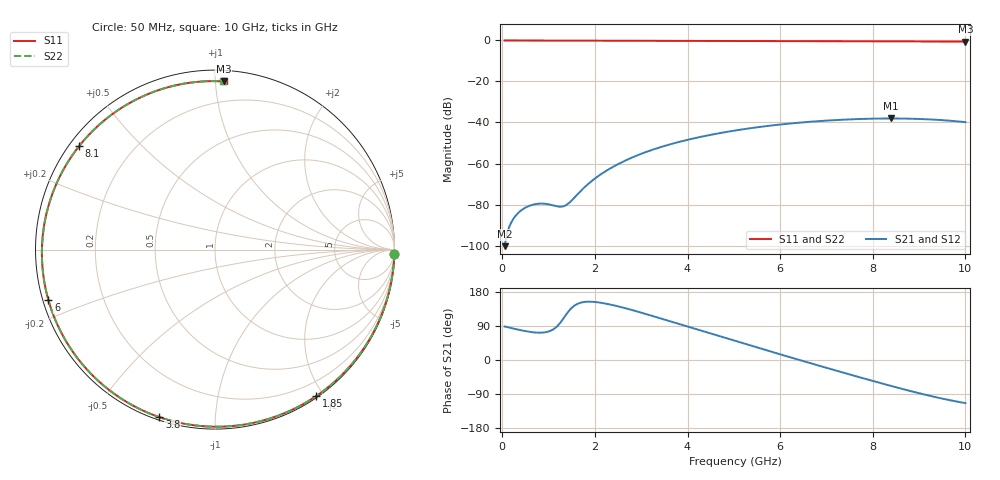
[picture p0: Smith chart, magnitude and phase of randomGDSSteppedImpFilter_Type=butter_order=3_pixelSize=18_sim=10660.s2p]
! freq	dB(S11)	phase(S11)	dB(S12)	phase(S12)
!  dB(S21)	phase(S21)	dB(S22)	phase(S22)
!S-par simulation data
#  GHz  S  DB  R 50
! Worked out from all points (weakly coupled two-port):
!   200 points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, 50 MHz to 10 GHz, reference 50 ohm
!   highest |S21| = -38.05 dB at 8.4 GHz (marker M1); lowest = -100.3 dB at 50 MHz (marker M2)
!   lowest |S11| = -0.6 dB at 10 GHz (marker M3), VSWR 31.29, Z = 3.37 + j52.6 ohm
!   |S11| at or under -10 dB: nowhere
!   |S22| runs from -0.6 to 0.0 dB; largest |S21 - S12| = 0
!   S11 on the Smith chart (normalised r, x): 50 MHz: 0, -74; 1.85 GHz: 0.02, -1.90; 3.8 GHz: 0.01, -0.72; 6 GHz: 0.02, -0.15; 8.1 GHz: 0.03, +0.34; 10 GHz: 0.07, +1.05
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0.05  -0.00 -1.6  -100.31 88.5  -100.31 88.5  -0.00 -1.6
0.7  -0.03 -21.4  -79.87 72.7  -79.87 72.7  -0.03 -21.4
1.4  -0.05 -42.4  -79.97 123.5  -79.97 123.5  -0.05 -42.4
1.75  -0.07 -52.6  -72.13 152.8  -72.13 152.8  -0.07 -52.6
1.85  -0.07 -55.5  -70.07 153.9  -70.07 153.9  -0.07 -55.5
2.15  -0.08 -64.0  -64.93 150.6  -64.93 150.6  -0.08 -64.0
2.5  -0.09 -73.8  -60.32 141.6  -60.32 141.6  -0.09 -73.8
2.9  -0.11 -84.7  -56.17 128.5  -56.17 128.5  -0.11 -84.7
3.4  -0.13 -98.0  -52.14 110.4  -52.14 110.4  -0.13 -98.0
3.8  -0.14 -108.4  -49.58 95.5  -49.58 95.5  -0.14 -108.4
4.4  -0.17 -123.6  -46.47 73.3  -46.47 73.3  -0.17 -123.6
5.05  -0.20 -139.7  -43.83 49.5  -43.83 49.5  -0.20 -139.7
5.55  -0.23 -152.0  -42.20 31.2  -42.20 31.2  -0.23 -152.0
6  -0.27 -163.1  -41.00 14.9  -41.00 14.9  -0.26 -163.0
6.7  -0.32 179.5  -39.55 -10.1  -39.55 -10.1  -0.32 179.5
7.4  -0.37 161.5  -38.59 -34.6  -38.59 -34.6  -0.37 161.6
8.1  -0.43 142.8  -38.10 -58.6  -38.10 -58.6  -0.43 142.9
8.35  -0.45 135.9  -38.05 -67.0  -38.05 -67.0  -0.45 136.0
8.4  -0.45 134.5  -38.05 -68.6  -38.05 -68.6  -0.45 134.6
9.25  -0.51 109.9  -38.52 -95.0  -38.52 -95.0  -0.51 110.0
9.65  -0.54 97.8  -39.10 -105.7  -39.10 -105.7  -0.54 97.9
10  -0.56 87.0  -39.83 -113.8  -39.83 -113.8  -0.56 87.2
